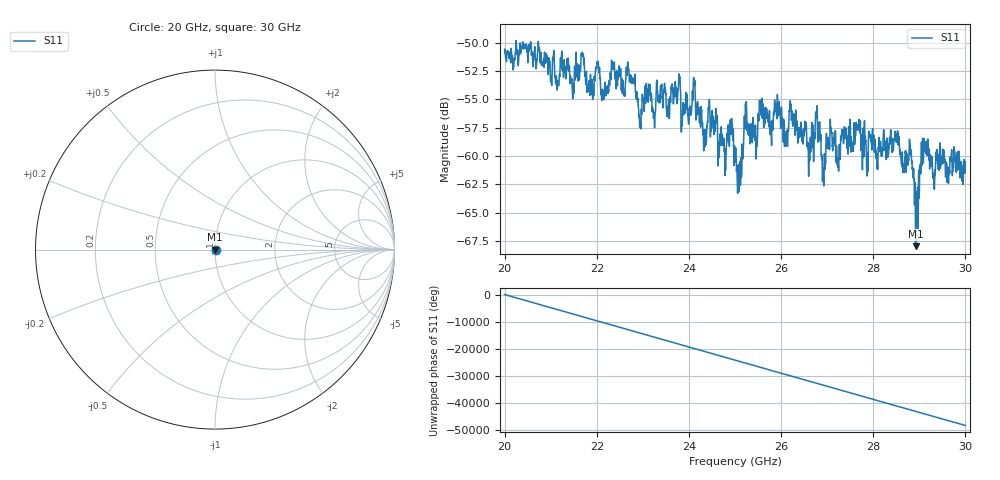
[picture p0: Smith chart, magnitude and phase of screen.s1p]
#  HZ  S  RI  R  50.00
! Rohde & Schwarz ZVA40 4Ports - Version 3.90 - 1145.1110k42 SN: 100403
! Date: 2023-09-28 11:04:20
! Measurement: S12
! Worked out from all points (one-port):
!   5001 points, 20 GHz to 30 GHz, reference 50 ohm
!   lowest |S11| = -68.0 dB at 28.92 GHz (marker M1), VSWR 1.00, Z = 50 + j0.0195 ohm
!   |S11| at or under -10 dB: start of sweep to end of sweep
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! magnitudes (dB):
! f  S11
! 20 GHz  -50.8
! 21.25 GHz  -52.2
! 22.13 GHz  -54.6
! 22.5 GHz  -52.9
! 22.78 GHz  -53.5
! 22.93 GHz  -57.5
! 23.75 GHz  -55.0
! 23.87 GHz  -55.3
! 24.11 GHz  -53.5
! 24.34 GHz  -58.2
! 24.9 GHz  -56.8
! 25 GHz  -60.6
! 25.1 GHz  -60.8
! 25.24 GHz  -56.0
! 25.45 GHz  -58.3
! 25.57 GHz  -56.0
! 26.09 GHz  -58.9
! 26.25 GHz  -57.1
! 26.61 GHz  -59.4
! 26.79 GHz  -58.2
! 26.92 GHz  -61.7
! 27.06 GHz  -58.6
! 27.5 GHz  -57.1
! 28.75 GHz  -60.8
! 28.92 GHz  -68.0
! 29.11 GHz  -59.5
! 29.3 GHz  -61.9
! 30 GHz  -60.6
